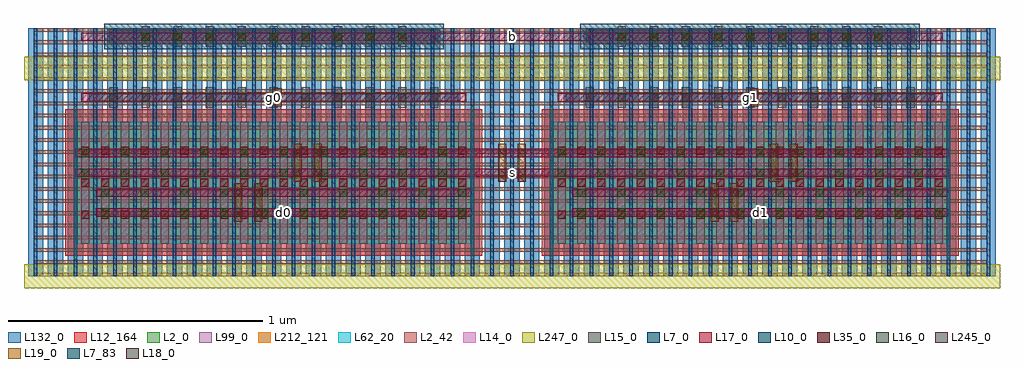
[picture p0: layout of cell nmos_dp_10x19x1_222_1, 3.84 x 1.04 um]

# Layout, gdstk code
import gdstk
lib = gdstk.Library(unit=1e-6, precision=1e-12)
def R(c, l, rs):  # rectangles x0, y0, x1, y1
    for r in rs: c.add(gdstk.rectangle(r[:2], r[2:], *l))
def A(c, l, x, y, w, h, nx, ny, dx, dy):  # array of equal rectangles
    R(c, l, [(x+i*dx, y+j*dy, x+i*dx+w, y+j*dy+h) for i in range(nx) for j in range(ny)])
L2_0 = (2, 0)
L2_42 = (2, 42)
L7_0 = (7, 0)
L7_83 = (7, 83)
L10_0 = (10, 0)
L12_164 = (12, 164)
L14_0 = (14, 0)
L15_0 = (15, 0)
L16_0 = (16, 0)
L17_0 = (17, 0)
L18_0 = (18, 0)
L19_0 = (19, 0)
L35_0 = (35, 0)
L62_20 = (62, 20)
L99_0 = (99, 0)
L132_0 = (132, 0)
L212_121 = (212, 121)
L245_0 = (245, 0)
L247_0 = (247, 0)

nmos_dp_10x19x1_222_1 = lib.new_cell('nmos_dp_10x19x1_222_1')
R(nmos_dp_10x19x1_222_1, L2_0, [(0.186,0.127,1.746,0.607), (2.058,0.127,3.618,0.607), (0.3191,0.911,1.6129,0.971), (2.1911,0.911,3.4849,0.971)])
A(nmos_dp_10x19x1_222_1, L2_42, 0.023, 0, 3.744, 0.014, 1, 21, 0, 0.048)
A(nmos_dp_10x19x1_222_1, L7_0, 0.023, 0, 0.014, 0.974, 49, 1, 0.078, 0)
R(nmos_dp_10x19x1_222_1, L7_83, [(0.179,0.067,0.193,0.667), (1.739,0.067,1.753,0.667), (2.051,0.067,2.065,0.667), (3.611,0.067,3.625,0.667)])
R(nmos_dp_10x19x1_222_1, L10_0, [(0.2991,0.891,1.6329,0.991), (2.1711,0.891,3.5049,0.991)])
R(nmos_dp_10x19x1_222_1, L12_164, [(0.147,0.079,1.785,0.655), (2.019,0.079,3.657,0.655)])
A(nmos_dp_10x19x1_222_1, L14_0, 0.208, 0.127, 0.034, 0.48, 20, 1, 0.078, 0)
A(nmos_dp_10x19x1_222_1, L14_0, 2.08, 0.127, 0.034, 0.48, 20, 1, 0.078, 0)
R(nmos_dp_10x19x1_222_1, L14_0, [(0.3341,0.921,1.5979,0.961), (2.2061,0.921,3.4699,0.961)])
A(nmos_dp_10x19x1_222_1, L15_0, 0.209, 0.127, 0.032, 0.48, 20, 1, 0.078, 0)
A(nmos_dp_10x19x1_222_1, L15_0, 2.081, 0.127, 0.032, 0.48, 20, 1, 0.078, 0)
A(nmos_dp_10x19x1_222_1, L15_0, 0.32, 0.662, 0.032, 0.08, 11, 1, 0.126, 0)
A(nmos_dp_10x19x1_222_1, L15_0, 2.192, 0.662, 0.032, 0.08, 11, 1, 0.126, 0)
A(nmos_dp_10x19x1_222_1, L15_0, 0.446, 0.901, 0.032, 0.08, 9, 1, 0.126, 0)
A(nmos_dp_10x19x1_222_1, L15_0, 2.318, 0.901, 0.032, 0.08, 9, 1, 0.126, 0)
A(nmos_dp_10x19x1_222_1, L16_0, 0.287, 0.234, 0.032, 0.032, 10, 2, 0.156, 0.078)
A(nmos_dp_10x19x1_222_1, L16_0, 2.159, 0.234, 0.032, 0.032, 10, 2, 0.156, 0.078)
A(nmos_dp_10x19x1_222_1, L16_0, 0.209, 0.39, 0.032, 0.032, 10, 2, 0.156, 0.078)
A(nmos_dp_10x19x1_222_1, L16_0, 2.081, 0.39, 0.032, 0.032, 10, 2, 0.156, 0.078)
A(nmos_dp_10x19x1_222_1, L16_0, 0.32, 0.686, 0.032, 0.032, 11, 1, 0.126, 0)
A(nmos_dp_10x19x1_222_1, L16_0, 2.192, 0.686, 0.032, 0.032, 11, 1, 0.126, 0)
A(nmos_dp_10x19x1_222_1, L16_0, 0.446, 0.925, 0.032, 0.032, 9, 1, 0.126, 0)
A(nmos_dp_10x19x1_222_1, L16_0, 2.318, 0.925, 0.032, 0.032, 9, 1, 0.126, 0)
R(nmos_dp_10x19x1_222_1, L17_0, [(0.267,0.234,1.743,0.266), (2.139,0.234,3.615,0.266), (0.267,0.312,1.743,0.344), (2.139,0.312,3.615,0.344), (0.186,0.39,1.746,0.422), (1.736,0.39,2.068,0.422), (2.058,0.39,3.618,0.422), (0.186,0.468,1.746,0.5), (1.736,0.468,2.068,0.5), (2.058,0.468,3.618,0.5), (0.209,0.686,1.723,0.718), (2.081,0.686,3.595,0.718), (0.209,0.925,1.723,0.957), (1.713,0.925,2.091,0.957), (2.081,0.925,3.595,0.957)])
R(nmos_dp_10x19x1_222_1, L18_0, [(0.81,0.234,0.842,0.266), (0.888,0.234,0.92,0.266), (2.682,0.234,2.714,0.266), (2.76,0.234,2.792,0.266), (0.81,0.312,0.842,0.344), (0.888,0.312,0.92,0.344), (2.682,0.312,2.714,0.344), (2.76,0.312,2.792,0.344), (1.847,0.37,1.879,0.402), (1.925,0.37,1.957,0.402), (1.044,0.39,1.076,0.422), (1.122,0.39,1.154,0.422), (1.847,0.39,1.879,0.422), (1.925,0.39,1.957,0.422), (2.916,0.39,2.948,0.422), (2.994,0.39,3.026,0.422), (1.044,0.468,1.076,0.5), (1.122,0.468,1.154,0.5), (1.847,0.468,1.879,0.5), (1.925,0.468,1.957,0.5), (2.916,0.468,2.948,0.5), (2.994,0.468,3.026,0.5), (0.966,0.686,0.998,0.718), (2.838,0.686,2.87,0.718)])
R(nmos_dp_10x19x1_222_1, L19_0, [(0.81,0.214,0.842,0.364), (0.888,0.214,0.92,0.364), (2.682,0.214,2.714,0.364), (2.76,0.214,2.792,0.364), (1.044,0.37,1.076,0.52), (1.122,0.37,1.154,0.52), (1.847,0.37,1.879,0.52), (1.925,0.37,1.957,0.52), (2.916,0.37,2.948,0.52), (2.994,0.37,3.026,0.52), (0.966,0.666,0.998,0.738), (2.838,0.666,2.87,0.738)])
A(nmos_dp_10x19x1_222_1, L35_0, 0.209, 0.225, 0.032, 0.032, 20, 3, 0.078, 0.126)
A(nmos_dp_10x19x1_222_1, L35_0, 2.081, 0.225, 0.032, 0.032, 20, 3, 0.078, 0.126)
A(nmos_dp_10x19x1_222_1, L35_0, 0.32, 0.686, 0.032, 0.032, 11, 1, 0.126, 0)
A(nmos_dp_10x19x1_222_1, L35_0, 2.192, 0.686, 0.032, 0.032, 11, 1, 0.126, 0)
A(nmos_dp_10x19x1_222_1, L35_0, 0.446, 0.925, 0.032, 0.032, 9, 1, 0.126, 0)
A(nmos_dp_10x19x1_222_1, L35_0, 2.318, 0.925, 0.032, 0.032, 9, 1, 0.126, 0)
R(nmos_dp_10x19x1_222_1, L62_20, [(0.186,0.127,1.746,0.607), (2.058,0.127,3.618,0.607)])
R(nmos_dp_10x19x1_222_1, L99_0, [(0.186,0.127,1.746,0.607), (2.058,0.127,3.618,0.607), (0.3291,0.916,1.6029,0.966), (2.2011,0.916,3.4749,0.966)])
A(nmos_dp_10x19x1_222_1, L132_0, 0, 0, 0.06, 0.974, 49, 1, 0.078, 0)
R(nmos_dp_10x19x1_222_1, L212_121, [(0.186,0.127,1.746,0.607), (2.058,0.127,3.618,0.607)])
R(nmos_dp_10x19x1_222_1, L245_0, [(0.241,0.687,1.691,0.717), (2.113,0.687,3.563,0.717)])
R(nmos_dp_10x19x1_222_1, L247_0, [(-0.016,-0.047,1.948,0.047), (1.856,-0.047,3.82,0.047), (-0.016,0.769,1.948,0.863), (1.856,0.769,3.82,0.863)])
nmos_dp_10x19x1_222_1.add(gdstk.Label('s', (1.902,0.406), layer=16, texttype=20))
nmos_dp_10x19x1_222_1.add(gdstk.Label('d1', (2.877,0.25), layer=16, texttype=20))
nmos_dp_10x19x1_222_1.add(gdstk.Label('d0', (1.005,0.25), layer=16, texttype=20))
nmos_dp_10x19x1_222_1.add(gdstk.Label('g0', (0.966,0.702), layer=16, texttype=20))
nmos_dp_10x19x1_222_1.add(gdstk.Label('g1', (2.838,0.702), layer=16, texttype=20))
nmos_dp_10x19x1_222_1.add(gdstk.Label('b', (1.902,0.941), layer=16, texttype=20))

lib.write_gds('nmos_dp_10x19x1_222_1.gds')
